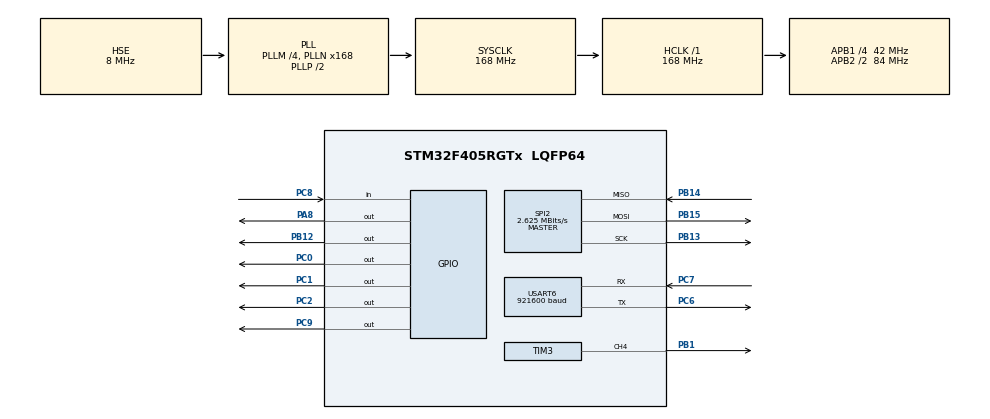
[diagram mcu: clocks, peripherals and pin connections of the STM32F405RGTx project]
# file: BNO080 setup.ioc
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Mcu.Family=STM32F4
Mcu.Name=STM32F405RGTx
Mcu.Package=LQFP64
NVIC.PriorityGroup=NVIC_PRIORITYGROUP_4
NVIC.USART6_IRQn=true\:0\:0\:false\:false\:true\:true\:true\:true
PA8.Signal=GPIO_Output
PB1.Signal=S_TIM3_CH4
PB12.Signal=GPIO_Output
PB13.Mode=Full_Duplex_Master
PB13.Signal=SPI2_SCK
PB14.Mode=Full_Duplex_Master
PB14.Signal=SPI2_MISO
PB15.Mode=Full_Duplex_Master
PB15.Signal=SPI2_MOSI
PC0.Signal=GPIO_Output
PC1.Signal=GPIO_Output
PC2.Signal=GPIO_Output
PC6.Mode=Asynchronous
PC6.Signal=USART6_TX
PC7.Mode=Asynchronous
PC7.Signal=USART6_RX
PC8.Signal=GPIO_Input
PC9.Signal=GPIO_Output
PH0-OSC_IN.Mode=HSE-External-Oscillator
PH0-OSC_IN.Signal=RCC_OSC_IN
PH1-OSC_OUT.Mode=HSE-External-Oscillator
PH1-OSC_OUT.Signal=RCC_OSC_OUT
ProjectManager.HeapSize=0x200
ProjectManager.StackSize=0x400
ProjectManager.TargetToolchain=STM32CubeIDE
RCC.48MHZClocksFreq_Value=84000000
RCC.AHBFreq_Value=168000000
RCC.APB1CLKDivider=RCC_HCLK_DIV4
RCC.APB1Freq_Value=42000000
RCC.APB1TimFreq_Value=84000000
RCC.APB2CLKDivider=RCC_HCLK_DIV2
RCC.APB2Freq_Value=84000000
RCC.APB2TimFreq_Value=168000000
RCC.CortexFreq_Value=168000000
RCC.HCLKFreq_Value=168000000
RCC.HSE_VALUE=8000000
RCC.HSI_VALUE=16000000
RCC.LSE_VALUE=32768
RCC.PLLM=4
RCC.PLLN=168
RCC.PLLSourceVirtual=RCC_PLLSOURCE_HSE
RCC.SYSCLKFreq_VALUE=168000000
RCC.SYSCLKSource=RCC_SYSCLKSOURCE_PLLCLK
RCC.VCOOutputFreq_Value=336000000
SH.S_TIM3_CH4.0=TIM3_CH4,PWM Generation4 CH4
SPI2.BaudRatePrescaler=SPI_BAUDRATEPRESCALER_16
SPI2.CLKPhase=SPI_PHASE_2EDGE
SPI2.CLKPolarity=SPI_POLARITY_HIGH
SPI2.CalculateBaudRate=2.625 MBits/s
SPI2.Direction=SPI_DIRECTION_2LINES
SPI2.Mode=SPI_MODE_MASTER
SPI2.VirtualType=VM_MASTER
TIM3.AutoReloadPreload=TIM_AUTORELOAD_PRELOAD_ENABLE
TIM3.Channel-PWM\ Generation4\ CH4=TIM_CHANNEL_4
TIM3.OCFastMode_PWM-PWM\ Generation4\ CH4=TIM_OCFAST_ENABLE
TIM3.Period=20
TIM3.Prescaler=999
TIM3.Pulse-PWM\ Generation4\ CH4=10
USART6.BaudRate=921600
USART6.VirtualMode=VM_ASYNC
VP_TIM3_VS_ClockSourceINT.Mode=Internal
board=custom

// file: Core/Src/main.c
/* USER CODE BEGIN Header */
/**
  ******************************************************************************
  * @file           : main.c
  * @brief          : Main program body
  ******************************************************************************
  * @attention
  *
  * Copyright (c) 2025 STMicroelectronics.
  * All rights reserved.
  *
  * This software is licensed under terms that can be found in the LICENSE file
  * in the root directory of this software component.
  * If no LICENSE file comes with this software, it is provided AS-IS.
  *
  ******************************************************************************
  */
/* USER CODE END Header */
#include "main.h"
#include "BNO080.h"
#include "Quaternion.h"

/* USER CODE BEGIN PTD */
int _write(int file, char *p, int len)
{
	for (int i = 0; i < len; i ++)
	{
		LL_USART_TransmitData8(USART6, *(p + i));
		HAL_Delay(1);
	}
	return len;
}
/* USER CODE END PTD */

void SystemClock_Config(void);
static void MX_GPIO_Init(void);
static void MX_TIM3_Init(void);
static void MX_USART6_UART_Init(void);
static void MX_SPI2_Init(void);

int main(void)
{

  /* USER CODE BEGIN 1 */
  float q[4]; // array to store components of quaternion (x, y, z, w)
  float quatRadianAccuracy;
  /* USER CODE END 1 */

  /* MCU Configuration--------------------------------------------------------*/

  /* Reset of all peripherals, Initializes the Flash interface and the Systick. */
  HAL_Init();

  /* Configure the system clock */
  SystemClock_Config();

  /* Initialize all configured peripherals */
  MX_GPIO_Init();
  MX_TIM3_Init();
  MX_USART6_UART_Init();
  MX_SPI2_Init();
  /* USER CODE BEGIN 2 */
  LL_TIM_CC_EnableChannel(TIM3, LL_TIM_CHANNEL_CH4);
  LL_TIM_EnableCounter(TIM3);

  TIM3->PSC = 2000;
  HAL_Delay(100);
  TIM3->PSC = 1500;
  HAL_Delay(100);
  TIM3->PSC = 1000;
  HAL_Delay(100);

  LL_TIM_CC_DisableChannel(TIM3, LL_TIM_CHANNEL_CH4);

  LL_USART_EnableIT_RXNE(USART6);

  BNO080_Initialization();
  BNO080_enableRotationVector(2500);
  /* USER CODE END 2 */

  /* Infinite loop */
  while (1)
  {
    if (BNO080_dataAvailable())
    {
    	// read in raw data from sensor and convert it into quaternion components
    	q[0] = BNO080_getQuatI();
    	q[1] = BNO080_getQuatJ();
    	q[2] = BNO080_getQuatK();
    	q[3] = BNO080_getQuatReal();
    	quatRadianAccuracy = BNO080_getQuatAccuracy();

    	// update roll, pitch, and yaw values of sensor
    	Quaternion_Update(&q[0]);

    	printf("%d, %d, %d\n", (int) (BNO080_Roll * 100), (int) (BNO080_Pitch * 100), (int) (BNO080_Yaw * 100));

    	HAL_Delay(1);
    }
  }
}

void SystemClock_Config(void)
{
  RCC_OscInitTypeDef RCC_OscInitStruct = {0};
  RCC_ClkInitTypeDef RCC_ClkInitStruct = {0};

  /** Configure the main internal regulator output voltage
  */
  __HAL_RCC_PWR_CLK_ENABLE();
  __HAL_PWR_VOLTAGESCALING_CONFIG(PWR_REGULATOR_VOLTAGE_SCALE1);

  /** Initializes the RCC Oscillators according to the specified parameters
  * in the RCC_OscInitTypeDef structure.
  */
  RCC_OscInitStruct.OscillatorType = RCC_OSCILLATORTYPE_HSE;
  RCC_OscInitStruct.HSEState = RCC_HSE_ON;
  RCC_OscInitStruct.PLL.PLLState = RCC_PLL_ON;
  RCC_OscInitStruct.PLL.PLLSource = RCC_PLLSOURCE_HSE;
  RCC_OscInitStruct.PLL.PLLM = 4;
  RCC_OscInitStruct.PLL.PLLN = 168;
  RCC_OscInitStruct.PLL.PLLP = RCC_PLLP_DIV2;
  RCC_OscInitStruct.PLL.PLLQ = 4;
  if (HAL_RCC_OscConfig(&RCC_OscInitStruct) != HAL_OK)
  {
    Error_Handler();
  }

  /** Initializes the CPU, AHB and APB buses clocks
  */
  RCC_ClkInitStruct.ClockType = RCC_CLOCKTYPE_HCLK|RCC_CLOCKTYPE_SYSCLK
                              |RCC_CLOCKTYPE_PCLK1|RCC_CLOCKTYPE_PCLK2;
  RCC_ClkInitStruct.SYSCLKSource = RCC_SYSCLKSOURCE_PLLCLK;
  RCC_ClkInitStruct.AHBCLKDivider = RCC_SYSCLK_DIV1;
  RCC_ClkInitStruct.APB1CLKDivider = RCC_HCLK_DIV4;
  RCC_ClkInitStruct.APB2CLKDivider = RCC_HCLK_DIV2;

  if (HAL_RCC_ClockConfig(&RCC_ClkInitStruct, FLASH_LATENCY_5) != HAL_OK)
  {
    Error_Handler();
  }
}

static void MX_SPI2_Init(void)
{

  LL_SPI_InitTypeDef SPI_InitStruct = {0};

  LL_GPIO_InitTypeDef GPIO_InitStruct = {0};

  /* Peripheral clock enable */
  LL_APB1_GRP1_EnableClock(LL_APB1_GRP1_PERIPH_SPI2);

  LL_AHB1_GRP1_EnableClock(LL_AHB1_GRP1_PERIPH_GPIOB);
  /**SPI2 GPIO Configuration
  PB13   ------> SPI2_SCK
  PB14   ------> SPI2_MISO
  PB15   ------> SPI2_MOSI
  */
  GPIO_InitStruct.Pin = LL_GPIO_PIN_13|LL_GPIO_PIN_14|LL_GPIO_PIN_15;
  GPIO_InitStruct.Mode = LL_GPIO_MODE_ALTERNATE;
  GPIO_InitStruct.Speed = LL_GPIO_SPEED_FREQ_VERY_HIGH;
  GPIO_InitStruct.OutputType = LL_GPIO_OUTPUT_PUSHPULL;
  GPIO_InitStruct.Pull = LL_GPIO_PULL_NO;
  GPIO_InitStruct.Alternate = LL_GPIO_AF_5;
  LL_GPIO_Init(GPIOB, &GPIO_InitStruct);

  /* SPI2 parameter configuration*/
  SPI_InitStruct.TransferDirection = LL_SPI_FULL_DUPLEX;
  SPI_InitStruct.Mode = LL_SPI_MODE_MASTER;
  SPI_InitStruct.DataWidth = LL_SPI_DATAWIDTH_8BIT;
  SPI_InitStruct.ClockPolarity = LL_SPI_POLARITY_HIGH;
  SPI_InitStruct.ClockPhase = LL_SPI_PHASE_2EDGE;
  SPI_InitStruct.NSS = LL_SPI_NSS_SOFT;
  SPI_InitStruct.BaudRate = LL_SPI_BAUDRATEPRESCALER_DIV16;
  SPI_InitStruct.BitOrder = LL_SPI_MSB_FIRST;
  SPI_InitStruct.CRCCalculation = LL_SPI_CRCCALCULATION_DISABLE;
  SPI_InitStruct.CRCPoly = 10;
  LL_SPI_Init(SPI2, &SPI_InitStruct);
  LL_SPI_SetStandard(SPI2, LL_SPI_PROTOCOL_MOTOROLA);

}

static void MX_TIM3_Init(void)
{

  LL_TIM_InitTypeDef TIM_InitStruct = {0};
  LL_TIM_OC_InitTypeDef TIM_OC_InitStruct = {0};

  LL_GPIO_InitTypeDef GPIO_InitStruct = {0};

  /* Peripheral clock enable */
  LL_APB1_GRP1_EnableClock(LL_APB1_GRP1_PERIPH_TIM3);

  TIM_InitStruct.Prescaler = 999;
  TIM_InitStruct.CounterMode = LL_TIM_COUNTERMODE_UP;
  TIM_InitStruct.Autoreload = 20;
  TIM_InitStruct.ClockDivision = LL_TIM_CLOCKDIVISION_DIV1;
  LL_TIM_Init(TIM3, &TIM_InitStruct);
  LL_TIM_EnableARRPreload(TIM3);
  LL_TIM_SetClockSource(TIM3, LL_TIM_CLOCKSOURCE_INTERNAL);
  LL_TIM_OC_EnablePreload(TIM3, LL_TIM_CHANNEL_CH4);
  TIM_OC_InitStruct.OCMode = LL_TIM_OCMODE_PWM1;
  TIM_OC_InitStruct.OCState = LL_TIM_OCSTATE_DISABLE;
  TIM_OC_InitStruct.OCNState = LL_TIM_OCSTATE_DISABLE;
  TIM_OC_InitStruct.CompareValue = 10;
  TIM_OC_InitStruct.OCPolarity = LL_TIM_OCPOLARITY_HIGH;
  LL_TIM_OC_Init(TIM3, LL_TIM_CHANNEL_CH4, &TIM_OC_InitStruct);
  LL_TIM_OC_EnableFast(TIM3, LL_TIM_CHANNEL_CH4);
  LL_TIM_SetTriggerOutput(TIM3, LL_TIM_TRGO_RESET);
  LL_TIM_DisableMasterSlaveMode(TIM3);
  LL_AHB1_GRP1_EnableClock(LL_AHB1_GRP1_PERIPH_GPIOB);
  /**TIM3 GPIO Configuration
  PB1   ------> TIM3_CH4
  */
  GPIO_InitStruct.Pin = LL_GPIO_PIN_1;
  GPIO_InitStruct.Mode = LL_GPIO_MODE_ALTERNATE;
  GPIO_InitStruct.Speed = LL_GPIO_SPEED_FREQ_LOW;
  GPIO_InitStruct.OutputType = LL_GPIO_OUTPUT_PUSHPULL;
  GPIO_InitStruct.Pull = LL_GPIO_PULL_NO;
  GPIO_InitStruct.Alternate = LL_GPIO_AF_2;
  LL_GPIO_Init(GPIOB, &GPIO_InitStruct);

}

static void MX_USART6_UART_Init(void)
{

  LL_USART_InitTypeDef USART_InitStruct = {0};

  LL_GPIO_InitTypeDef GPIO_InitStruct = {0};

  /* Peripheral clock enable */
  LL_APB2_GRP1_EnableClock(LL_APB2_GRP1_PERIPH_USART6);

  LL_AHB1_GRP1_EnableClock(LL_AHB1_GRP1_PERIPH_GPIOC);
  /**USART6 GPIO Configuration
  PC6   ------> USART6_TX
  PC7   ------> USART6_RX
  */
  GPIO_InitStruct.Pin = LL_GPIO_PIN_6|LL_GPIO_PIN_7;
  GPIO_InitStruct.Mode = LL_GPIO_MODE_ALTERNATE;
  GPIO_InitStruct.Speed = LL_GPIO_SPEED_FREQ_VERY_HIGH;
  GPIO_InitStruct.OutputType = LL_GPIO_OUTPUT_PUSHPULL;
  GPIO_InitStruct.Pull = LL_GPIO_PULL_NO;
  GPIO_InitStruct.Alternate = LL_GPIO_AF_8;
  LL_GPIO_Init(GPIOC, &GPIO_InitStruct);

  /* USART6 interrupt Init */
  NVIC_SetPriority(USART6_IRQn, NVIC_EncodePriority(NVIC_GetPriorityGrouping(),0, 0));
  NVIC_EnableIRQ(USART6_IRQn);

  USART_InitStruct.BaudRate = 115200;
  USART_InitStruct.DataWidth = LL_USART_DATAWIDTH_8B;
  USART_InitStruct.StopBits = LL_USART_STOPBITS_1;
  USART_InitStruct.Parity = LL_USART_PARITY_NONE;
  USART_InitStruct.TransferDirection = LL_USART_DIRECTION_TX_RX;
  USART_InitStruct.HardwareFlowControl = LL_USART_HWCONTROL_NONE;
  USART_InitStruct.OverSampling = LL_USART_OVERSAMPLING_16;
  LL_USART_Init(USART6, &USART_InitStruct);
  LL_USART_ConfigAsyncMode(USART6);
  LL_USART_Enable(USART6);

}

static void MX_GPIO_Init(void)
{
  LL_GPIO_InitTypeDef GPIO_InitStruct = {0};

  /* GPIO Ports Clock Enable */
  LL_AHB1_GRP1_EnableClock(LL_AHB1_GRP1_PERIPH_GPIOH);
  LL_AHB1_GRP1_EnableClock(LL_AHB1_GRP1_PERIPH_GPIOC);
  LL_AHB1_GRP1_EnableClock(LL_AHB1_GRP1_PERIPH_GPIOB);
  LL_AHB1_GRP1_EnableClock(LL_AHB1_GRP1_PERIPH_GPIOA);

  /**/
  LL_GPIO_ResetOutputPin(GPIOC, LL_GPIO_PIN_0|LL_GPIO_PIN_1|LL_GPIO_PIN_2|LL_GPIO_PIN_9);

  /**/
  LL_GPIO_ResetOutputPin(GPIOB, LL_GPIO_PIN_12);

  /**/
  LL_GPIO_ResetOutputPin(GPIOA, LL_GPIO_PIN_8);

  /**/
  GPIO_InitStruct.Pin = LL_GPIO_PIN_0|LL_GPIO_PIN_1|LL_GPIO_PIN_2|LL_GPIO_PIN_9;
  GPIO_InitStruct.Mode = LL_GPIO_MODE_OUTPUT;
  GPIO_InitStruct.Speed = LL_GPIO_SPEED_FREQ_LOW;
  GPIO_InitStruct.OutputType = LL_GPIO_OUTPUT_PUSHPULL;
  GPIO_InitStruct.Pull = LL_GPIO_PULL_NO;
  LL_GPIO_Init(GPIOC, &GPIO_InitStruct);

  /**/
  GPIO_InitStruct.Pin = LL_GPIO_PIN_12;
  GPIO_InitStruct.Mode = LL_GPIO_MODE_OUTPUT;
  GPIO_InitStruct.Speed = LL_GPIO_SPEED_FREQ_LOW;
  GPIO_InitStruct.OutputType = LL_GPIO_OUTPUT_PUSHPULL;
  GPIO_InitStruct.Pull = LL_GPIO_PULL_NO;
  LL_GPIO_Init(GPIOB, &GPIO_InitStruct);

  /**/
  GPIO_InitStruct.Pin = LL_GPIO_PIN_8;
  GPIO_InitStruct.Mode = LL_GPIO_MODE_INPUT;
  GPIO_InitStruct.Pull = LL_GPIO_PULL_NO;
  LL_GPIO_Init(GPIOC, &GPIO_InitStruct);

  /**/
  GPIO_InitStruct.Pin = LL_GPIO_PIN_8;
  GPIO_InitStruct.Mode = LL_GPIO_MODE_OUTPUT;
  GPIO_InitStruct.Speed = LL_GPIO_SPEED_FREQ_LOW;
  GPIO_InitStruct.OutputType = LL_GPIO_OUTPUT_PUSHPULL;
  GPIO_InitStruct.Pull = LL_GPIO_PULL_NO;
  LL_GPIO_Init(GPIOA, &GPIO_InitStruct);

}

void Error_Handler(void)
{
  __disable_irq();
  while (1)
  {
  }
}
